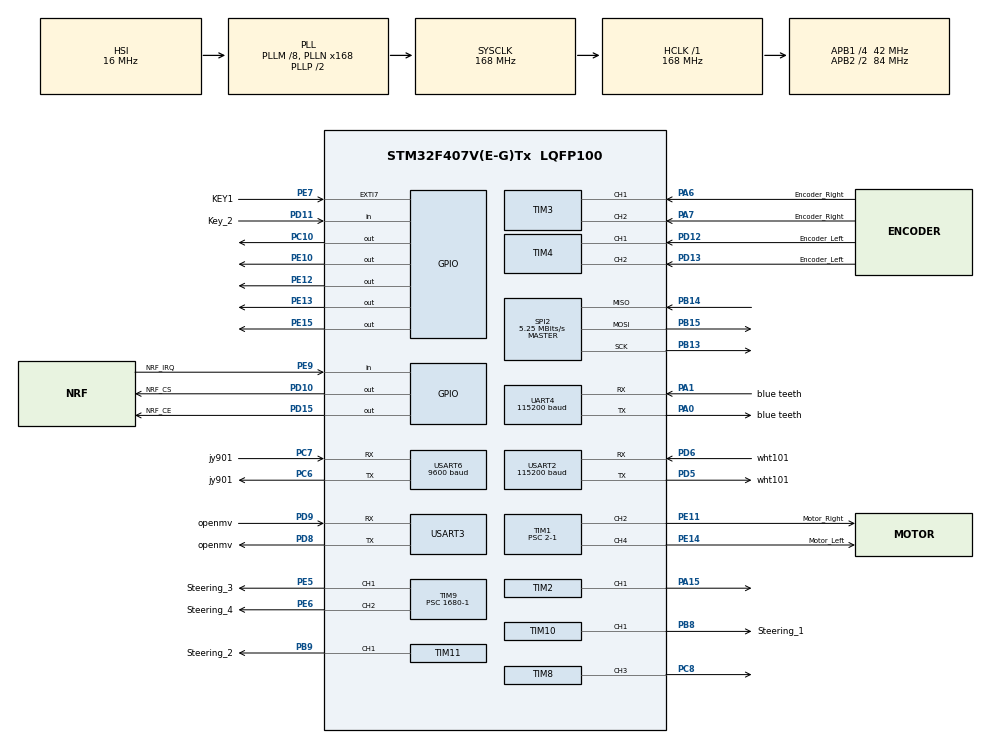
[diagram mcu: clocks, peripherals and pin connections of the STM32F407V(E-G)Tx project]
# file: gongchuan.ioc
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Dma.Request0=UART4_TX
Dma.Request1=USART6_TX
Dma.Request2=USART6_RX
Dma.Request3=USART2_RX
Dma.Request4=USART2_TX
Dma.Request5=USART3_RX
Dma.Request6=USART3_TX
Dma.Request7=UART4_RX
Dma.UART4_RX.7.Direction=DMA_PERIPH_TO_MEMORY
Dma.UART4_RX.7.FIFOMode=DMA_FIFOMODE_DISABLE
Dma.UART4_RX.7.Instance=DMA1_Stream2
Dma.UART4_RX.7.MemDataAlignment=DMA_MDATAALIGN_BYTE
Dma.UART4_RX.7.MemInc=DMA_MINC_ENABLE
Dma.UART4_RX.7.Mode=DMA_NORMAL
Dma.UART4_RX.7.PeriphDataAlignment=DMA_PDATAALIGN_BYTE
Dma.UART4_RX.7.PeriphInc=DMA_PINC_DISABLE
Dma.UART4_RX.7.Priority=DMA_PRIORITY_LOW
Dma.UART4_TX.0.Direction=DMA_MEMORY_TO_PERIPH
Dma.UART4_TX.0.FIFOMode=DMA_FIFOMODE_DISABLE
Dma.UART4_TX.0.Instance=DMA1_Stream4
Dma.UART4_TX.0.MemDataAlignment=DMA_MDATAALIGN_BYTE
Dma.UART4_TX.0.MemInc=DMA_MINC_ENABLE
Dma.UART4_TX.0.Mode=DMA_NORMAL
Dma.UART4_TX.0.PeriphDataAlignment=DMA_PDATAALIGN_BYTE
Dma.UART4_TX.0.PeriphInc=DMA_PINC_DISABLE
Dma.UART4_TX.0.Priority=DMA_PRIORITY_HIGH
Dma.USART2_RX.3.Direction=DMA_PERIPH_TO_MEMORY
Dma.USART2_RX.3.FIFOMode=DMA_FIFOMODE_DISABLE
Dma.USART2_RX.3.Instance=DMA1_Stream5
Dma.USART2_RX.3.MemDataAlignment=DMA_MDATAALIGN_BYTE
Dma.USART2_RX.3.MemInc=DMA_MINC_ENABLE
Dma.USART2_RX.3.Mode=DMA_NORMAL
Dma.USART2_RX.3.PeriphDataAlignment=DMA_PDATAALIGN_BYTE
Dma.USART2_RX.3.PeriphInc=DMA_PINC_DISABLE
Dma.USART2_RX.3.Priority=DMA_PRIORITY_MEDIUM
Dma.USART2_TX.4.Direction=DMA_MEMORY_TO_PERIPH
Dma.USART2_TX.4.FIFOMode=DMA_FIFOMODE_DISABLE
Dma.USART2_TX.4.Instance=DMA1_Stream6
Dma.USART2_TX.4.MemDataAlignment=DMA_MDATAALIGN_BYTE
Dma.USART2_TX.4.MemInc=DMA_MINC_ENABLE
Dma.USART2_TX.4.Mode=DMA_NORMAL
Dma.USART2_TX.4.PeriphDataAlignment=DMA_PDATAALIGN_BYTE
Dma.USART2_TX.4.PeriphInc=DMA_PINC_DISABLE
Dma.USART2_TX.4.Priority=DMA_PRIORITY_LOW
Dma.USART3_RX.5.Direction=DMA_PERIPH_TO_MEMORY
Dma.USART3_RX.5.FIFOMode=DMA_FIFOMODE_DISABLE
Dma.USART3_RX.5.Instance=DMA1_Stream1
Dma.USART3_RX.5.MemDataAlignment=DMA_MDATAALIGN_BYTE
Dma.USART3_RX.5.MemInc=DMA_MINC_ENABLE
Dma.USART3_RX.5.Mode=DMA_CIRCULAR
Dma.USART3_RX.5.PeriphDataAlignment=DMA_PDATAALIGN_BYTE
Dma.USART3_RX.5.PeriphInc=DMA_PINC_DISABLE
Dma.USART3_RX.5.Priority=DMA_PRIORITY_LOW
Dma.USART3_TX.6.Direction=DMA_MEMORY_TO_PERIPH
Dma.USART3_TX.6.FIFOMode=DMA_FIFOMODE_DISABLE
Dma.USART3_TX.6.Instance=DMA1_Stream3
Dma.USART3_TX.6.MemDataAlignment=DMA_MDATAALIGN_BYTE
Dma.USART3_TX.6.MemInc=DMA_MINC_ENABLE
Dma.USART3_TX.6.Mode=DMA_NORMAL
Dma.USART3_TX.6.PeriphDataAlignment=DMA_PDATAALIGN_BYTE
Dma.USART3_TX.6.PeriphInc=DMA_PINC_DISABLE
Dma.USART3_TX.6.Priority=DMA_PRIORITY_HIGH
Dma.USART6_RX.2.Direction=DMA_PERIPH_TO_MEMORY
Dma.USART6_RX.2.FIFOMode=DMA_FIFOMODE_DISABLE
Dma.USART6_RX.2.Instance=DMA2_Stream1
Dma.USART6_RX.2.MemDataAlignment=DMA_MDATAALIGN_BYTE
Dma.USART6_RX.2.MemInc=DMA_MINC_ENABLE
Dma.USART6_RX.2.Mode=DMA_NORMAL
Dma.USART6_RX.2.PeriphDataAlignment=DMA_PDATAALIGN_BYTE
Dma.USART6_RX.2.PeriphInc=DMA_PINC_DISABLE
Dma.USART6_RX.2.Priority=DMA_PRIORITY_LOW
Dma.USART6_TX.1.Direction=DMA_MEMORY_TO_PERIPH
Dma.USART6_TX.1.FIFOMode=DMA_FIFOMODE_DISABLE
Dma.USART6_TX.1.Instance=DMA2_Stream6
Dma.USART6_TX.1.MemDataAlignment=DMA_MDATAALIGN_BYTE
Dma.USART6_TX.1.MemInc=DMA_MINC_ENABLE
Dma.USART6_TX.1.Mode=DMA_NORMAL
Dma.USART6_TX.1.PeriphDataAlignment=DMA_PDATAALIGN_BYTE
Dma.USART6_TX.1.PeriphInc=DMA_PINC_DISABLE
Dma.USART6_TX.1.Priority=DMA_PRIORITY_LOW
FREERTOS.Tasks01=XANDYGETTASK1,3,256,XANDYGETTASKs,Default,NULL,Dynamic,NULL,NULL;myTask02,0,256,normal,Default,NULL,Dynamic,NULL,NULL;myTask03,0,256,remotecontrolTASK,Default,NULL,Dynamic,NULL,NULL;myTask04,0,256,openmvcounter,Default,NULL,Dynamic,NULL,NULL;USAT,0,128,UARTTASK,Default,NULL,Dynamic,NULL,NULL
Mcu.Family=STM32F4
Mcu.Name=STM32F407V(E-G)Tx
Mcu.Package=LQFP100
NVIC.DMA1_Stream1_IRQn=true\:5\:0\:false\:false\:true\:true\:false\:true\:true
NVIC.DMA1_Stream3_IRQn=true\:0\:0\:true\:false\:true\:false\:false\:true\:true
NVIC.DMA1_Stream4_IRQn=true\:5\:0\:false\:false\:true\:true\:false\:true\:true
NVIC.DMA1_Stream5_IRQn=true\:5\:0\:false\:false\:true\:true\:false\:true\:true
NVIC.DMA1_Stream6_IRQn=true\:5\:0\:false\:false\:true\:true\:false\:true\:true
NVIC.DMA2_Stream1_IRQn=true\:5\:0\:false\:false\:true\:false\:false\:true\:true
NVIC.DMA2_Stream6_IRQn=true\:5\:0\:false\:false\:true\:false\:false\:true\:true
NVIC.EXTI9_5_IRQn=true\:5\:0\:false\:false\:true\:false\:true\:true\:true
NVIC.PriorityGroup=NVIC_PRIORITYGROUP_4
NVIC.TIM5_IRQn=true\:15\:0\:false\:false\:true\:false\:false\:true\:true
NVIC.TimeBase=TIM5_IRQn
NVIC.TimeBaseIP=TIM5
NVIC.UART4_IRQn=true\:1\:0\:true\:false\:true\:false\:true\:true\:true
NVIC.USART2_IRQn=true\:2\:0\:true\:false\:true\:false\:true\:true\:true
NVIC.USART3_IRQn=true\:0\:0\:true\:false\:true\:false\:true\:true\:true
NVIC.USART6_IRQn=true\:3\:0\:true\:false\:true\:false\:true\:true\:true
PA0-WKUP.GPIO_Label=blue teeth
PA0-WKUP.GPIO_PuPd=GPIO_NOPULL
PA0-WKUP.Mode=Asynchronous
PA0-WKUP.Signal=UART4_TX
PA1.GPIO_Label=blue teeth
PA1.GPIO_PuPd=GPIO_NOPULL
PA1.Mode=Asynchronous
PA1.Signal=UART4_RX
PA13.Mode=Serial_Wire
PA13.Signal=SYS_JTMS-SWDIO
PA14.Mode=Serial_Wire
PA14.Signal=SYS_JTCK-SWCLK
PA15.Signal=S_TIM2_CH1_ETR
PA6.GPIO_Label=Encoder_Right
PA6.Signal=S_TIM3_CH1
PA7.GPIO_Label=Encoder_Right
PA7.Signal=S_TIM3_CH2
PB13.Mode=Full_Duplex_Master
PB13.Signal=SPI2_SCK
PB14.Mode=Full_Duplex_Master
PB14.Signal=SPI2_MISO
PB15.Mode=Full_Duplex_Master
PB15.Signal=SPI2_MOSI
PB8.GPIO_Label=Steering_1
PB8.Signal=S_TIM10_CH1
PB9.GPIO_Label=Steering_2
PB9.Signal=S_TIM11_CH1
PC10.Signal=GPIO_Output
PC14-OSC32_IN.Mode=LSE-External-Oscillator
PC14-OSC32_IN.Signal=RCC_OSC32_IN
PC15-OSC32_OUT.Mode=LSE-External-Oscillator
PC15-OSC32_OUT.Signal=RCC_OSC32_OUT
PC6.GPIO_Label=jy901
PC6.Mode=Asynchronous
PC6.Signal=USART6_TX
PC7.GPIO_Label=jy901
PC7.Mode=Asynchronous
PC7.Signal=USART6_RX
PC8.Signal=S_TIM8_CH3
PD10.GPIO_Label=NRF_CS
PD10.GPIO_Speed=GPIO_SPEED_FREQ_HIGH
PD10.PinState=GPIO_PIN_SET
PD10.Signal=GPIO_Output
PD11.GPIO_Label=Key_2
PD11.GPIO_PuPd=GPIO_PULLUP
PD11.Signal=GPIO_Input
PD12.GPIO_Label=Encoder_Left
PD12.Signal=S_TIM4_CH1
PD13.GPIO_Label=Encoder_Left
PD13.Signal=S_TIM4_CH2
PD15.GPIO_Label=NRF_CE
PD15.GPIO_Speed=GPIO_SPEED_FREQ_VERY_HIGH
PD15.Signal=GPIO_Output
PD5.GPIO_Label=wht101
PD5.Mode=Asynchronous
PD5.Signal=USART2_TX
PD6.GPIO_Label=wht101
PD6.Mode=Asynchronous
PD6.Signal=USART2_RX
PD8.GPIO_Label=openmv
PD8.Mode=Asynchronous
PD8.Signal=USART3_TX
PD9.GPIO_Label=openmv
PD9.Mode=Asynchronous
PD9.Signal=USART3_RX
PE10.Signal=GPIO_Output
PE11.GPIO_Label=Motor_Right
PE11.Signal=S_TIM1_CH2
PE12.Signal=GPIO_Output
PE13.Signal=GPIO_Output
PE14.GPIO_Label=Motor_Left
PE14.Signal=S_TIM1_CH4
PE15.Signal=GPIO_Output
PE5.GPIO_Label=Steering_3
PE5.Signal=S_TIM9_CH1
PE6.GPIO_Label=Steering_4
PE6.Signal=S_TIM9_CH2
PE7.GPIO_Label=KEY1
PE7.GPIO_ModeDefaultEXTI=GPIO_MODE_IT_FALLING
PE7.GPIO_PuPd=GPIO_PULLUP
PE7.Signal=GPXTI7
PE9.GPIO_Label=NRF_IRQ
PE9.GPIO_PuPd=GPIO_PULLUP
PE9.Signal=GPIO_Input
PH0-OSC_IN.Mode=HSE-External-Oscillator
PH0-OSC_IN.Signal=RCC_OSC_IN
PH1-OSC_OUT.Mode=HSE-External-Oscillator
PH1-OSC_OUT.Signal=RCC_OSC_OUT
ProjectManager.HeapSize=0x800
ProjectManager.StackSize=0x800
ProjectManager.TargetToolchain=MDK-ARM V5.32
RCC.48MHZClocksFreq_Value=84000000
RCC.AHBFreq_Value=168000000
RCC.APB1CLKDivider=RCC_HCLK_DIV4
RCC.APB1Freq_Value=42000000
RCC.APB1TimFreq_Value=84000000
RCC.APB2CLKDivider=RCC_HCLK_DIV2
RCC.APB2Freq_Value=84000000
RCC.APB2TimFreq_Value=168000000
RCC.CortexFreq_Value=168000000
RCC.HCLKFreq_Value=168000000
RCC.HSE_VALUE=25000000
RCC.HSI_VALUE=16000000
RCC.PLLM=8
RCC.PLLN=168
RCC.SYSCLKFreq_VALUE=168000000
RCC.SYSCLKSource=RCC_SYSCLKSOURCE_PLLCLK
RCC.VCOOutputFreq_Value=336000000
SH.S_TIM10_CH1.0=TIM10_CH1,PWM Generation1 CH1
SH.S_TIM11_CH1.0=TIM11_CH1,PWM Generation1 CH1
SH.S_TIM1_CH2.0=TIM1_CH2,PWM Generation2 CH2
SH.S_TIM1_CH4.0=TIM1_CH4,PWM Generation4 CH4
SH.S_TIM2_CH1_ETR.0=TIM2_CH1,PWM Generation1 CH1
SH.S_TIM3_CH1.0=TIM3_CH1,Encoder_Interface
SH.S_TIM3_CH2.0=TIM3_CH2,Encoder_Interface
SH.S_TIM4_CH1.0=TIM4_CH1,Encoder_Interface
SH.S_TIM4_CH2.0=TIM4_CH2,Encoder_Interface
SH.S_TIM8_CH3.0=TIM8_CH3,PWM Generation3 CH3
SH.S_TIM9_CH1.0=TIM9_CH1,PWM Generation1 CH1
SH.S_TIM9_CH2.0=TIM9_CH2,PWM Generation2 CH2
SPI2.BaudRatePrescaler=SPI_BAUDRATEPRESCALER_8
SPI2.CalculateBaudRate=5.25 MBits/s
SPI2.DataSize=SPI_DATASIZE_8BIT
SPI2.Direction=SPI_DIRECTION_2LINES
SPI2.FirstBit=SPI_FIRSTBIT_MSB
SPI2.Mode=SPI_MODE_MASTER
SPI2.VirtualType=VM_MASTER
TIM1.AutoReloadPreload=TIM_AUTORELOAD_PRELOAD_ENABLE
TIM1.Channel-PWM\ Generation2\ CH2=TIM_CHANNEL_2
TIM1.Channel-PWM\ Generation4\ CH4=TIM_CHANNEL_4
TIM1.Period=16800-1
TIM1.Prescaler=2-1
TIM10.Channel=TIM_CHANNEL_1
TIM10.Period=2000-1
TIM10.Prescaler=1680-1
TIM11.AutoReloadPreload=TIM_AUTORELOAD_PRELOAD_ENABLE
TIM11.Channel=TIM_CHANNEL_1
TIM11.Period=2000-1
TIM11.Prescaler=1680-1
TIM11.Pulse=115
TIM2.AutoReloadPreload=TIM_AUTORELOAD_PRELOAD_ENABLE
TIM2.Channel-PWM\ Generation1\ CH1=TIM_CHANNEL_1
TIM2.Period=2000-1
TIM2.Prescaler=840-1
TIM2.Pulse-PWM\ Generation1\ CH1=155
TIM3.EncoderMode=TIM_ENCODERMODE_TI12
TIM4.EncoderMode=TIM_ENCODERMODE_TI12
TIM8.AutoReloadPreload=TIM_AUTORELOAD_PRELOAD_ENABLE
TIM8.Channel-PWM\ Generation3\ CH3=TIM_CHANNEL_3
TIM8.Period=2000-1
TIM8.Prescaler=1680-1
TIM8.Pulse-PWM\ Generation3\ CH3=213
TIM9.AutoReloadPreload=TIM_AUTORELOAD_PRELOAD_ENABLE
TIM9.Channel-PWM\ Generation1\ CH1=TIM_CHANNEL_1
TIM9.Channel-PWM\ Generation2\ CH2=TIM_CHANNEL_2
TIM9.Period=2000-1
TIM9.Prescaler=1680-1
TIM9.Pulse-PWM\ Generation1\ CH1=220
TIM9.Pulse-PWM\ Generation2\ CH2=80
UART4.BaudRate=115200
UART4.VirtualMode=Asynchronous
USART2.BaudRate=115200
USART2.VirtualMode=VM_ASYNC
USART3.VirtualMode=VM_ASYNC
USART6.BaudRate=9600
USART6.VirtualMode=VM_ASYNC
VP_FREERTOS_VS_CMSIS_V1.Mode=CMSIS_V1
VP_SYS_VS_tim5.Mode=TIM5
VP_TIM10_VS_ClockSourceINT.Mode=Enable_Timer
VP_TIM11_VS_ClockSourceINT.Mode=Enable_Timer
board=custom

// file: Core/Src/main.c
/* USER CODE BEGIN Header */
/**
  ******************************************************************************
  * @file           : main.c
  * @brief          : Main program body
  ******************************************************************************
  * @attention
  *
  * Copyright (c) 2024 STMicroelectronics.
  * All rights reserved.
  *
  * This software is licensed under terms that can be found in the LICENSE file
  * in the root directory of this software component.
  * If no LICENSE file comes with this software, it is provided AS-IS.
  *
  ******************************************************************************
  */
/* USER CODE END Header */
#include "main.h"
#include "cmsis_os.h"
#include "dma.h"
#include "spi.h"
#include "tim.h"
#include "usart.h"
#include "gpio.h"

/* USER CODE BEGIN Includes */
#include "Motor.h"
#include "Encoder.h"
#include "Steering.h"
#include "Key.h"
#include "oled.h"
#include "SPORT.h"
#include "jy901.h"
#include "NRF.h"
#include "MY_USART.h"
#include "PID_COUNTER.h"
#include "NRF_COUNTER.h"
#include "location.h"
#include <stdio.h>
#include "PID.h"
#include "openmv.h"
#include "LED.h"
#include <math.h>
  #include "OPENMV_COUNTER.h"
#include "HWT101.h"
#include "ATKTDF.h"
/* USER CODE END Includes */

void SystemClock_Config(void);
void MX_FREERTOS_Init(void);
/* USER CODE BEGIN PFP */
 extern User_USART JY901_data;
extern  HWT101_USART HWT101; //最终接收结构体
extern ATKTDF_USART atktdf;
/* USER CODE END PFP */

/* USER CODE BEGIN 0 */
  uint8_t u4_buf[1]={1};
  uint8_t sa_buf[10]="sa1\n";
  uint8_t cntr=0;
extern struct NRF_BUFFER NBF_BUFF;  //定义一个结构体来接收数据
  int j=0;
  float X_real=0,Y_real=0;
  int sa3=0,sa4=0;
  int sa_key1=0;
float sa50=0.0f,sa51=0.0f;
  int sa_ka=0;
  int sa_string=120;
  int sa_time_str=0;
  int sa2888=0;   int sa2889=0;
   uint16_t id;
   float sa_yaw,sa_pitch,sa_roll,sa_x,sa_Rx_flag,sa1_real,sa2_real,sa_goal_x = 30,sa_goal_y = 60,sa_distance,sa_angle_diff,sa_Ki1 = 100,sa_Ki2 = 500,sa_speed_L,sa_speed_R;
/* USER CODE END 0 */

int main(void)
{

  /* MCU Configuration--------------------------------------------------------*/

  /* Reset of all peripherals, Initializes the Flash interface and the Systick. */
  HAL_Init();

  /* Configure the system clock */
  SystemClock_Config();

  /* Initialize all configured peripherals */
  MX_GPIO_Init();
  MX_DMA_Init();
  MX_TIM1_Init();
  MX_TIM3_Init();
  MX_UART4_Init();
  MX_USART2_UART_Init();
  MX_USART3_UART_Init();
  MX_USART6_UART_Init();
  MX_SPI2_Init();
  MX_TIM4_Init();
  MX_TIM9_Init();
  MX_TIM10_Init();
  MX_TIM11_Init();
  MX_TIM8_Init();
  MX_TIM2_Init();
  /* USER CODE BEGIN 2 */
  User_USART_Init(&JY901_data);
  HWT101_USART_Init(&HWT101);
 // JY901_CONET();
  HWT101_z_zero();
  NRF_BUFFER_Init();
//    OLED_Init();
//   OLED_Clear();
//  OLED_ShowNum(0,0,1,4,16);
// OLED_ShowNum(0,0,13,4,16);
  Encoder_Init();
 Steering_Init();
 Motor_Init();
 ATKTDF_Init();
 // OLED_Init();
  openmv_data_Init();
   while(NRF24L01_Check())
 {
  	HAL_Delay(1000);
 }

   NRF24L01_RX_Mode();//设置为发送模式

  /* USER CODE END 2 */

  /* Call init function for freertos objects (in cmsis_os2.c) */
  MX_FREERTOS_Init();

  /* Start scheduler */
  osKernelStart();

  /* We should never get here as control is now taken by the scheduler */

  /* Infinite loop */
  /* USER CODE BEGIN WHILE */
  while (1)
  {
				//	Steering_frame_below();
	//	Steering_Camara_below();

	   Steering_frame_below();

    /* USER CODE END WHILE */

  }
}

void SystemClock_Config(void)
{
  RCC_OscInitTypeDef RCC_OscInitStruct = {0};
  RCC_ClkInitTypeDef RCC_ClkInitStruct = {0};

  /** Configure the main internal regulator output voltage
  */
  __HAL_RCC_PWR_CLK_ENABLE();
  __HAL_PWR_VOLTAGESCALING_CONFIG(PWR_REGULATOR_VOLTAGE_SCALE1);

  /** Initializes the RCC Oscillators according to the specified parameters
  * in the RCC_OscInitTypeDef structure.
  */
  RCC_OscInitStruct.OscillatorType = RCC_OSCILLATORTYPE_HSI;
  RCC_OscInitStruct.HSIState = RCC_HSI_ON;
  RCC_OscInitStruct.HSICalibrationValue = RCC_HSICALIBRATION_DEFAULT;
  RCC_OscInitStruct.PLL.PLLState = RCC_PLL_ON;
  RCC_OscInitStruct.PLL.PLLSource = RCC_PLLSOURCE_HSI;
  RCC_OscInitStruct.PLL.PLLM = 8;
  RCC_OscInitStruct.PLL.PLLN = 168;
  RCC_OscInitStruct.PLL.PLLP = RCC_PLLP_DIV2;
  RCC_OscInitStruct.PLL.PLLQ = 4;
  if (HAL_RCC_OscConfig(&RCC_OscInitStruct) != HAL_OK)
  {
    Error_Handler();
  }

  /** Initializes the CPU, AHB and APB buses clocks
  */
  RCC_ClkInitStruct.ClockType = RCC_CLOCKTYPE_HCLK|RCC_CLOCKTYPE_SYSCLK
                              |RCC_CLOCKTYPE_PCLK1|RCC_CLOCKTYPE_PCLK2;
  RCC_ClkInitStruct.SYSCLKSource = RCC_SYSCLKSOURCE_PLLCLK;
  RCC_ClkInitStruct.AHBCLKDivider = RCC_SYSCLK_DIV1;
  RCC_ClkInitStruct.APB1CLKDivider = RCC_HCLK_DIV4;
  RCC_ClkInitStruct.APB2CLKDivider = RCC_HCLK_DIV2;

  if (HAL_RCC_ClockConfig(&RCC_ClkInitStruct, FLASH_LATENCY_5) != HAL_OK)
  {
    Error_Handler();
  }
}

/* USER CODE BEGIN 4 */
 void HAL_GPIO_EXTI_Callback(uint16_t GPIO_Pin)
 {
     if(GPIO_Pin==KEY1_Pin)
	 {
		       sa_key1++;

	 }

 }

void HAL_UART_RxCpltCallback(UART_HandleTypeDef *huart)
{
  if (huart->Instance == USART1) // ???????????? USART1
  {

    HAL_UART_Receive_IT(&huart4, (uint8_t*)atktdf.RxBuffer, sizeof(atktdf.RxBuffer)); // ???? UART ????
  }
}

//
//void HAL_TIM_PeriodElapsedCallback(TIM_HandleTypeDef *htim)
//{
//	if(htim == &htim6)
//	{
//		Speed_left = (short)__HAL_TIM_GET_COUNTER(&htim4);
//		pulse_left += (short)__HAL_TIM_GET_COUNTER(&htim4);
//		__HAL_TIM_SET_COUNTER(&htim4, 0);
//
//		Speed_right = (short)__HAL_TIM_GET_COUNTER(&htim3);
//		pulse_right += (short)__HAL_TIM_GET_COUNTER(&htim3);
//		__HAL_TIM_SET_COUNTER(&htim3, 0);
//
//		__HAL_TIM_CLEAR_IT(&htim6,TIM_IT_UPDATE);
//	}
//}
/***********************0.05s(5ms)Tim6�ص�����**************************/
//int sa_time=0;
//void HAL_TIM_PeriodElapsedCallback(TIM_HandleTypeDef *htim)
//{
//  if (htim== (&htim6))
//  {
//
//		X_AND_Y_GET(&X_real,&Y_real);
//		NRF_COUNTER_START();

//	 // OPENMV_COUNTER();
//	  Location_Lookfor_wang();
//	    sa_time++;
//	  //Location_turn_PID();
////Location_go_home();
//	  // Location_Lookfor();
////	  if(sa_time%20==0)
////	  {
////	  sprintf((char *)sa_buf,"x%f",X_real);
////	  HAL_UART_Transmit_DMA(&huart4,sa_buf,4);}
////	  if(sa_time%30==0)
////	  {
////		  sprintf((char *)sa_buf,"y%f",Y_real);
////	  HAL_UART_Transmit_DMA(&huart4,sa_buf,4);
////	  }
//

//}}
/* USER CODE END 4 */

void HAL_TIM_PeriodElapsedCallback(TIM_HandleTypeDef *htim)
{
  if (htim->Instance == TIM5) {
    HAL_IncTick();
  }
}

void Error_Handler(void)
{
  __disable_irq();
  while (1)
  {
  }
}

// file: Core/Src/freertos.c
/* USER CODE BEGIN Header */
/**
  ******************************************************************************
  * File Name          : freertos.c
  * Description        : Code for freertos applications
  ******************************************************************************
  * @attention
  *
  * Copyright (c) 2025 STMicroelectronics.
  * All rights reserved.
  *
  * This software is licensed under terms that can be found in the LICENSE file
  * in the root directory of this software component.
  * If no LICENSE file comes with this software, it is provided AS-IS.
  *
  ******************************************************************************
  */
/* USER CODE END Header */

#include "FreeRTOS.h"
#include "task.h"
#include "main.h"
#include "cmsis_os.h"

/* USER CODE BEGIN Includes */
#include "location.h"
#include "NRF.h"
#include "usart.h"
#include "NRF_COUNTER.h"
#include <stdio.h>
#include "string.h"
#include "Encoder.h"
#include "MOTOR.h"
#include "PID_COUNTER.h"
#include "OPENMV_COUNTER.h"
#include "i2c_hal.h"
#include "OPENMV.h"
extern HWT101_USART HWT101; //���ս��սṹ��
#include "ATKTDF.h"
#include "Steering.h"
/* USER CODE END Includes */

/* USER CODE BEGIN PD */
int sat_1=0,sat_2=0,sat_3=0,sat_4=0;
extern uint8_t sa_buf[10];
extern float X_real,Y_real;
extern struct NRF_BUFFER NBF_BUFF;
extern int lookforwangsa;
extern   int sa1,sa2;
int sa100=0,sa101=0;
extern int sa_key1;
int sa_key12=0;
extern User_USART__openmv OPEN_data; //将DMA的数据存入这个数组里
unsigned char i2c_buffer_now=0;
int freertos_sa_gekai=0;
extern ATKTDF_USART atktdf;
/* USER CODE END PD */

/* USER CODE BEGIN Variables */
extern User_USART__openmv OPEN_data; // Uart4的DMA接收用户结构体
osMutexDef(XANDY_Mutex);   // 定义互斥锁
SemaphoreHandle_t  XANDYMutex;       // 互斥锁句柄
/* USER CODE END Variables */
osThreadId XANDYGETTASK1Handle;
osThreadId myTask02Handle;
osThreadId myTask03Handle;
osThreadId myTask04Handle;
osThreadId USATHandle;

void XANDYGETTASKs(void const * argument);
void normal(void const * argument);
void remotecontrolTASK(void const * argument);
void openmvcounter(void const * argument);
void UARTTASK(void const * argument);

void MX_FREERTOS_Init(void); /* (MISRA C 2004 rule 8.1) */

/* GetIdleTaskMemory prototype (linked to static allocation support) */
void vApplicationGetIdleTaskMemory( StaticTask_t **ppxIdleTaskTCBBuffer, StackType_t **ppxIdleTaskStackBuffer, uint32_t *pulIdleTaskStackSize );

/* USER CODE BEGIN GET_IDLE_TASK_MEMORY */
static StaticTask_t xIdleTaskTCBBuffer;
static StackType_t xIdleStack[configMINIMAL_STACK_SIZE];

void vApplicationGetIdleTaskMemory( StaticTask_t **ppxIdleTaskTCBBuffer, StackType_t **ppxIdleTaskStackBuffer, uint32_t *pulIdleTaskStackSize )
{
  *ppxIdleTaskTCBBuffer = &xIdleTaskTCBBuffer;
  *ppxIdleTaskStackBuffer = &xIdleStack[0];
  *pulIdleTaskStackSize = configMINIMAL_STACK_SIZE;
  /* place for user code */
}
/* USER CODE END GET_IDLE_TASK_MEMORY */

void MX_FREERTOS_Init(void) {

  /* Create the thread(s) */
  /* definition and creation of XANDYGETTASK1 */
  osThreadDef(XANDYGETTASK1, XANDYGETTASKs, osPriorityRealtime, 0, 256);
  XANDYGETTASK1Handle = osThreadCreate(osThread(XANDYGETTASK1), NULL);

  /* definition and creation of myTask02 */
  osThreadDef(myTask02, normal, osPriorityNormal, 0, 256);
  myTask02Handle = osThreadCreate(osThread(myTask02), NULL);

  /* definition and creation of myTask03 */
  osThreadDef(myTask03, remotecontrolTASK, osPriorityNormal, 0, 256);
  myTask03Handle = osThreadCreate(osThread(myTask03), NULL);

  /* definition and creation of myTask04 */
  osThreadDef(myTask04, openmvcounter, osPriorityNormal, 0, 256);
  myTask04Handle = osThreadCreate(osThread(myTask04), NULL);

  /* definition and creation of USAT */
  osThreadDef(USAT, UARTTASK, osPriorityNormal, 0, 128);
  USATHandle = osThreadCreate(osThread(USAT), NULL);

  /* USER CODE BEGIN RTOS_THREADS */
  vTaskSuspend(myTask03Handle);
 //+
 //vTaskSuspend(myTask04Handle);
 vTaskSuspend(myTask02Handle);

  XANDYMutex = osMutexCreate(osMutex(XANDY_Mutex));
  /* add threads, ... */
  /* USER CODE END RTOS_THREADS */

}

void XANDYGETTASKs(void const * argument)
{
  /* USER CODE BEGIN XANDYGETTASKs */
  /* Infinite loop */
  for(;;)
  {

    xSemaphoreTake(XANDYMutex, osWaitForever);  // 获取互斥锁
   X_AND_Y_GET(&X_real,&Y_real);
//

    xSemaphoreGive(XANDYMutex);  // 释放互斥锁
    sat_1++;
    NRF_decide();//在这里去读取NRF是否控制

    if(NBF_BUFF.start==1)
    {
    vTaskSuspend(myTask04Handle);
    vTaskResume(myTask03Handle);
    vTaskSuspend(myTask02Handle);
    }
//	if((sa_key1!=0)&&(sa_key12==0))
//	{
//		sa_key12++;
//	  vTaskResume(myTask02Handle);
//
//	}

    vTaskDelay(5);
  }
  /* USER CODE END XANDYGETTASKs */
}

void normal(void const * argument)
{
  /* USER CODE BEGIN normal */
  /* Infinite loop */
  for(;;)
  {
    sat_2++;
  xSemaphoreTake(XANDYMutex, osWaitForever);  // 获取互斥锁
	  location_miidle_turn_common();
	  //Location_Lookfor_wang();
//	Location_turn_PID(2,-175,175);
	// Location_Lookfor_baoan();
  xSemaphoreGive(XANDYMutex);  // 释放互斥锁+

    vTaskDelay(5);
  }
  /* USER CODE END normal */
}

void remotecontrolTASK(void const * argument)
{
  /* USER CODE BEGIN remotecontrolTASK */
  /* Infinite loop */
  for(;;)
  {

  	sat_3++;
//
//      // Location_Lookfor_wang();

//     //location_face_to_safe();
//	 // Motor_370_respectively(8000,8000);
 NRF_COUNTER_START();   //只进行NRF运行
    vTaskDelay(5);
  }
  /* USER CODE END remotecontrolTASK */
}

void openmvcounter(void const * argument)
{
  /* USER CODE BEGIN openmvcounter */
  /* Infinite loop */
  for(;;)
  {
//	//  location_face_to_safe(110,120,X_real,Y_real);
		sat_4++;
	   xSemaphoreTake(XANDYMutex, osWaitForever);  // 获取互斥锁
	   OPENMV_SPORT_TASK();
	  xSemaphoreGive(XANDYMutex);  // 释放互斥锁+
	  //Location_Lookfor_wang();

   vTaskDelay(5);
  }
  /* USER CODE END openmvcounter */
}

void UARTTASK(void const * argument)
{
  /* USER CODE BEGIN UARTTASK */
  /* Infinite loop */
  for(;;)
  {
  // sprintf((char *)sa_buf,"x%f",OPEN_data.OPENMV_X_FIFLTER);
 //  HAL_UART_Transmit_DMA(&huart4,sa_buf,6);

//  sprintf((char *)sa_buf,"y%d",lookforwangsa);
//  HAL_UART_Transmit_DMA(&huart4,sa_buf,2);
//	   HAL_UART_Transmit_DMA(&huart3,sa_buf,6);
//
	  // Steering_tongs_loosen();
	  ATKTDF_DATA_FIFTER();
      ATKTDF_GET_add();

  vTaskDelay(100);

  }

  /* USER CODE END UARTTASK */
}
